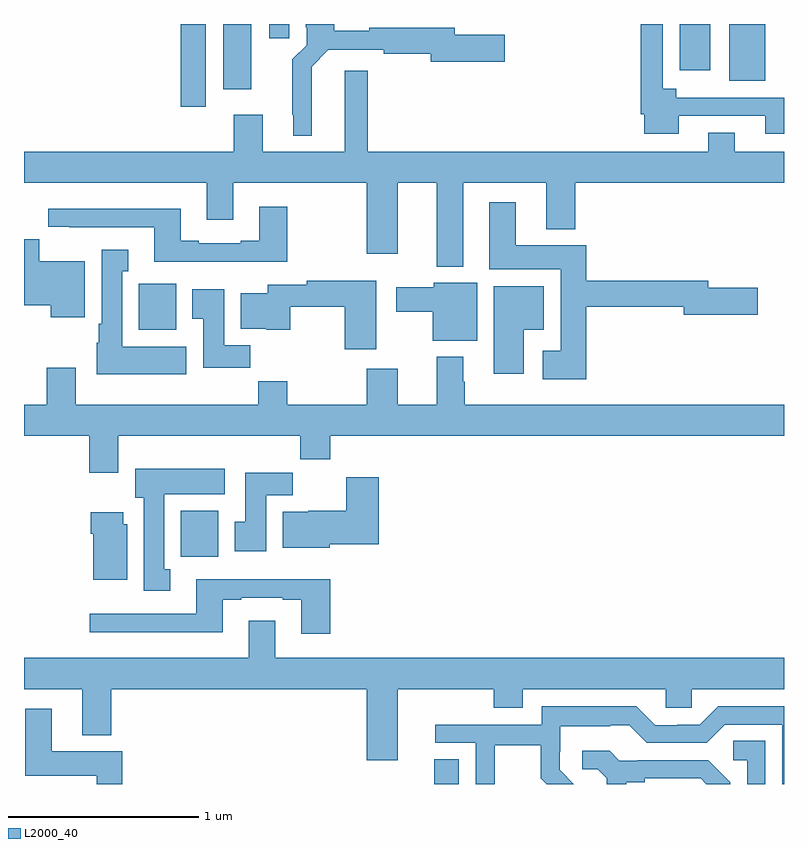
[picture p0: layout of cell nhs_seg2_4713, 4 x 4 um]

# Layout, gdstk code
import gdstk
lib = gdstk.Library(unit=1e-6, precision=1e-09)
def R(c, l, rs):  # rectangles x0, y0, x1, y1
    for r in rs: c.add(gdstk.rectangle(r[:2], r[2:], *l))
def P(c, l, *ps):  # polygons
    for p in ps: c.add(gdstk.Polygon(p, *l))
L2000_40 = (2000, 40)

nhs_seg2_4713 = lib.new_cell('nhs_seg2_4713')
R(nhs_seg2_4713, L2000_40, [(369.158,649.8,369.289,649.931), (367.826,650.996,368.023,651.238), (367.604,652.19,367.801,652.432), (367.826,653.364,367.957,653.8), (368.048,653.457,368.197,653.8), (370.712,653.501,370.9,653.8), (370.451,653.556,370.612,653.8), (368.291,653.724,368.395,653.8)])
P(nhs_seg2_4713, L2000_40, [(368.515,653.576),(368.602,653.664),(368.893,653.664),(368.893,653.644),(369.14,653.644),(369.14,653.602),(369.529,653.602),(369.529,653.744),(369.268,653.744),(369.268,653.78),(368.816,653.78),(368.816,653.765),(368.633,653.765),(368.633,653.8),(368.483,653.8),(368.483,653.782),(368.487,653.782),(368.487,653.688),(368.413,653.614),(368.413,653.323),(368.417,653.323),(368.417,653.213),(368.515,653.213)],
  [(370.447,653.316),(370.901,653.316),(370.901,653.222),(371,653.222),(371,653.412),(370.432,653.412),(370.432,653.458),(370.362,653.458),(370.362,653.8),(370.246,653.8),(370.246,653.326),(370.265,653.326),(370.265,653.222),(370.447,653.222)],
  [(369.313,652.964),(369.749,652.964),(369.749,652.721),(369.902,652.721),(369.902,652.964),(371,652.964),(371,653.128),(370.741,653.128),(370.741,653.227),(370.601,653.227),(370.601,653.128),(368.81,653.128),(368.81,653.554),(368.687,653.554),(368.687,653.128),(368.257,653.128),(368.257,653.323),(368.105,653.323),(368.105,653.128),(367,653.128),(367,652.964),(367.961,652.964),(367.961,652.77),(368.101,652.77),(368.101,652.964),(368.804,652.964),(368.804,652.59),(368.968,652.59),(368.968,652.964),(369.173,652.964),(369.173,652.523),(369.313,652.523)],
  [(369.959,652.312),(370.472,652.312),(370.472,652.27),(370.861,652.27),(370.861,652.412),(370.6,652.412),(370.6,652.448),(369.959,652.448),(369.959,652.636),(369.589,652.636),(369.589,652.861),(369.449,652.861),(369.449,652.508),(369.824,652.508),(369.824,652.081),(369.729,652.081),(369.729,651.929),(369.959,651.929)],
  [(368.385,652.837),(368.237,652.837),(368.237,652.66),(368.141,652.66),(368.141,652.647),(367.921,652.647),(367.921,652.66),(367.825,652.66),(367.825,652.828),(367.128,652.828),(367.128,652.733),(367.237,652.733),(367.237,652.731),(367.685,652.731),(367.685,652.55),(368.385,652.55)],
  [(367.321,652.552),(367.081,652.552),(367.081,652.668),(367,652.668),(367,652.319),(367.142,652.319),(367.142,652.256),(367.321,652.256)],
  [(367.855,652.102),(367.516,652.102),(367.516,652.499),(367.549,652.499),(367.549,652.612),(367.409,652.612),(367.409,652.222),(367.394,652.222),(367.394,652.122),(367.382,652.122),(367.382,651.956),(367.855,651.956)],
  [(368.854,652.448),(368.488,652.448),(368.488,652.428),(368.282,652.428),(368.282,652.384),(368.141,652.384),(368.141,652.196),(368.274,652.196),(368.274,652.19),(368.4,652.19),(368.4,652.312),(368.689,652.312),(368.689,652.089),(368.854,652.089)],
  [(369.385,652.438),(369.156,652.438),(369.156,652.414),(368.958,652.414),(368.958,652.285),(369.152,652.285),(369.152,652.133),(369.385,652.133)],
  [(369.631,652.19),(369.736,652.19),(369.736,652.42),(369.473,652.42),(369.473,651.96),(369.631,651.96)],
  [(368.192,652.108),(368.053,652.108),(368.053,652.405),(367.886,652.405),(367.886,652.249),(367.943,652.249),(367.943,651.99),(368.192,651.99)],
  [(367.495,651.632),(368.455,651.632),(368.455,651.508),(368.612,651.508),(368.612,651.632),(371,651.632),(371,651.796),(369.321,651.796),(369.321,651.917),(369.313,651.917),(369.313,652.048),(369.173,652.048),(369.173,651.796),(368.968,651.796),(368.968,651.985),(368.804,651.985),(368.804,651.796),(368.385,651.796),(368.385,651.92),(368.233,651.92),(368.233,651.796),(367.273,651.796),(367.273,651.991),(367.121,651.991),(367.121,651.796),(367,651.796),(367,651.632),(367.343,651.632),(367.343,651.438),(367.495,651.438)],
  [(367.771,650.93),(367.738,650.93),(367.738,651.326),(368.056,651.326),(368.056,651.46),(367.586,651.46),(367.586,651.306),(367.631,651.306),(367.631,650.817),(367.771,650.817)],
  [(368.275,651.32),(368.414,651.32),(368.414,651.439),(368.165,651.439),(368.165,651.18),(368.108,651.18),(368.108,651.024),(368.275,651.024)],
  [(368.61,651.062),(368.867,651.062),(368.867,651.415),(368.696,651.415),(368.696,651.238),(368.496,651.238),(368.496,651.232),(368.363,651.232),(368.363,651.044),(368.61,651.044)],
  [(367.543,651.168),(367.522,651.168),(367.522,651.229),(367.352,651.229),(367.352,651.116),(367.364,651.116),(367.364,650.876),(367.543,650.876)],
  [(368.612,650.878),(367.907,650.878),(367.907,650.697),(367.347,650.697),(367.347,650.6),(368.047,650.6),(368.047,650.769),(368.143,650.769),(368.143,650.781),(368.363,650.781),(368.363,650.769),(368.459,650.769),(368.459,650.592),(368.612,650.592)],
  [(368.968,650.3),(369.473,650.3),(369.473,650.201),(369.625,650.201),(369.625,650.3),(370.377,650.3),(370.377,650.202),(370.515,650.202),(370.515,650.3),(371,650.3),(371,650.464),(368.323,650.464),(368.323,650.659),(368.183,650.659),(368.183,650.464),(367,650.464),(367,650.3),(367.307,650.3),(367.307,650.057),(367.46,650.057),(367.46,650.3),(368.804,650.3),(368.804,649.926),(368.968,649.926)],
  [(369.477,650.004),(369.721,650.004),(369.721,649.829),(369.75,649.8),(369.894,649.8),(369.82,649.874),(369.82,649.971),(369.822,649.971),(369.822,650.105),(370.085,650.105),(370.085,650.109),(370.185,650.109),(370.278,650.016),(370.593,650.016),(370.689,650.112),(370.992,650.112),(370.992,649.8),(371,649.8),(371,650.208),(370.653,650.208),(370.557,650.112),(370.439,650.112),(370.439,650.109),(370.323,650.109),(370.223,650.209),(369.726,650.209),(369.726,650.112),(369.165,650.112),(369.165,650.016),(369.378,650.016),(369.378,649.8),(369.477,649.8)],
  [(367.517,649.972),(367.147,649.972),(367.147,650.197),(367.007,650.197),(367.007,649.844),(367.382,649.844),(367.382,649.8),(367.517,649.8)],
  [(370.902,650.027),(370.734,650.027),(370.734,649.926),(370.806,649.926),(370.806,649.8),(370.902,649.8)],
  [(370.171,649.808),(370.267,649.808),(370.267,649.83),(370.562,649.83),(370.592,649.8),(370.716,649.8),(370.716,649.81),(370.6,649.926),(370.228,649.926),(370.228,649.923),(370.134,649.923),(370.082,649.975),(369.939,649.975),(369.939,649.878),(370.02,649.878),(370.067,649.831),(370.067,649.8),(370.171,649.8)])

lib.write_gds('nhs_seg2_4713.gds')
